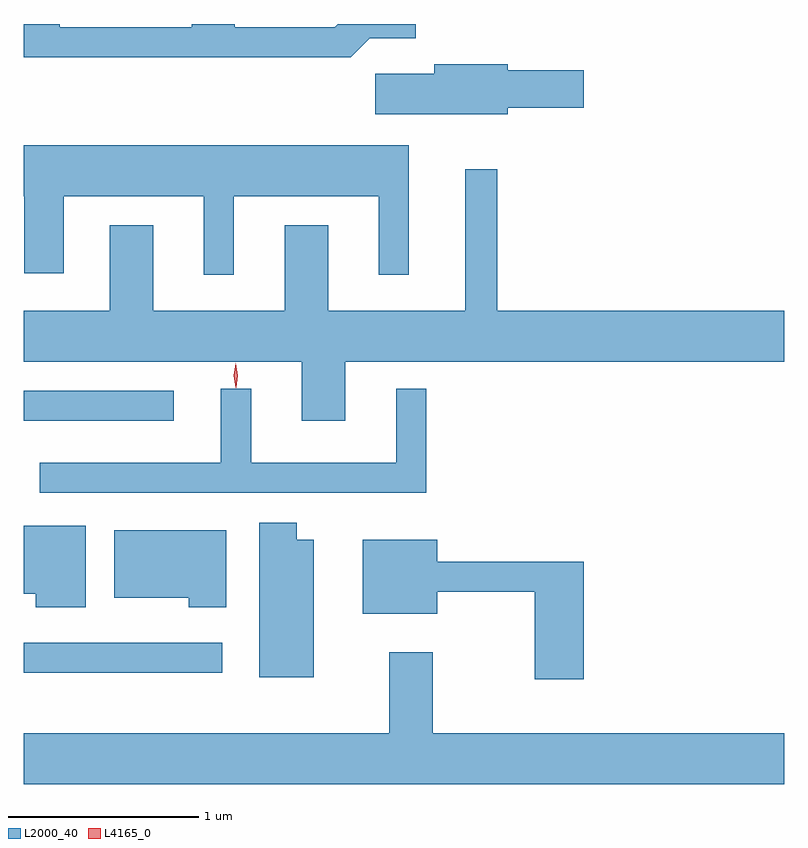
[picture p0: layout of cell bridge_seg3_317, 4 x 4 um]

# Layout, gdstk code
import gdstk
lib = gdstk.Library(unit=1e-6, precision=1e-09)
def R(c, l, rs):  # rectangles x0, y0, x1, y1
    for r in rs: c.add(gdstk.rectangle(r[:2], r[2:], *l))
def P(c, l, *ps):  # polygons
    for p in ps: c.add(gdstk.Polygon(p, *l))
L2000_40 = (2000, 40)
L4165_0 = (4165, 0)

bridge_seg3_317 = lib.new_cell('bridge_seg3_317')
R(bridge_seg3_317, L2000_40, [(616.988,1242.041,618.033,1242.199), (616.988,1243.366,617.778,1243.524)])
P(bridge_seg3_317, L2000_40, [(618.807,1245.376),(619.049,1245.376),(619.049,1245.451),(618.641,1245.451),(618.624,1245.434),(618.099,1245.434),(618.099,1245.451),(617.871,1245.451),(617.871,1245.434),(617.179,1245.434),(617.179,1245.451),(616.988,1245.451),(616.988,1245.276),(618.707,1245.276)],
  [(619.534,1245.011),(619.934,1245.011),(619.934,1245.209),(619.534,1245.209),(619.534,1245.239),(619.146,1245.239),(619.146,1245.189),(618.836,1245.189),(618.836,1244.976),(619.534,1244.976)],
  [(618.094,1244.546),(618.856,1244.546),(618.856,1244.133),(619.014,1244.133),(619.014,1244.814),(616.988,1244.814),(616.988,1244.546),(616.991,1244.546),(616.991,1244.141),(617.199,1244.141),(617.199,1244.546),(617.936,1244.546),(617.936,1244.133),(618.094,1244.133)],
  [(618.679,1243.676),(620.988,1243.676),(620.988,1243.944),(619.479,1243.944),(619.479,1244.688),(619.311,1244.688),(619.311,1243.944),(618.589,1243.944),(618.589,1244.394),(618.361,1244.394),(618.361,1243.944),(617.669,1243.944),(617.669,1244.394),(617.441,1244.394),(617.441,1243.944),(616.988,1243.944),(616.988,1243.676),(618.451,1243.676),(618.451,1243.366),(618.679,1243.366)],
  [(619.104,1243.533),(618.946,1243.533),(618.946,1243.144),(618.184,1243.144),(618.184,1243.533),(618.026,1243.533),(618.026,1243.144),(617.073,1243.144),(617.073,1242.986),(619.104,1242.986)],
  [(618.514,1242.739),(618.424,1242.739),(618.424,1242.829),(618.226,1242.829),(618.226,1242.016),(618.514,1242.016)],
  [(617.314,1242.814),(616.988,1242.814),(616.988,1242.456),(617.051,1242.456),(617.051,1242.386),(617.314,1242.386)],
  [(618.054,1242.789),(617.466,1242.789),(617.466,1242.436),(617.856,1242.436),(617.856,1242.386),(618.054,1242.386)],
  [(619.934,1242.624),(619.164,1242.624),(619.164,1242.739),(618.771,1242.739),(618.771,1242.351),(619.164,1242.351),(619.164,1242.466),(619.676,1242.466),(619.676,1242.006),(619.934,1242.006)],
  [(620.988,1241.724),(619.139,1241.724),(619.139,1242.149),(618.911,1242.149),(618.911,1241.724),(616.988,1241.724),(616.988,1241.456),(620.988,1241.456)])
P(bridge_seg3_317, L4165_0, [(618.104,1243.538),(618.104,1243.538),(618.094,1243.603),(618.104,1243.667),(618.104,1243.668),(618.104,1243.667),(618.114,1243.603),(618.105,1243.538)])

lib.write_gds('bridge_seg3_317.gds')
